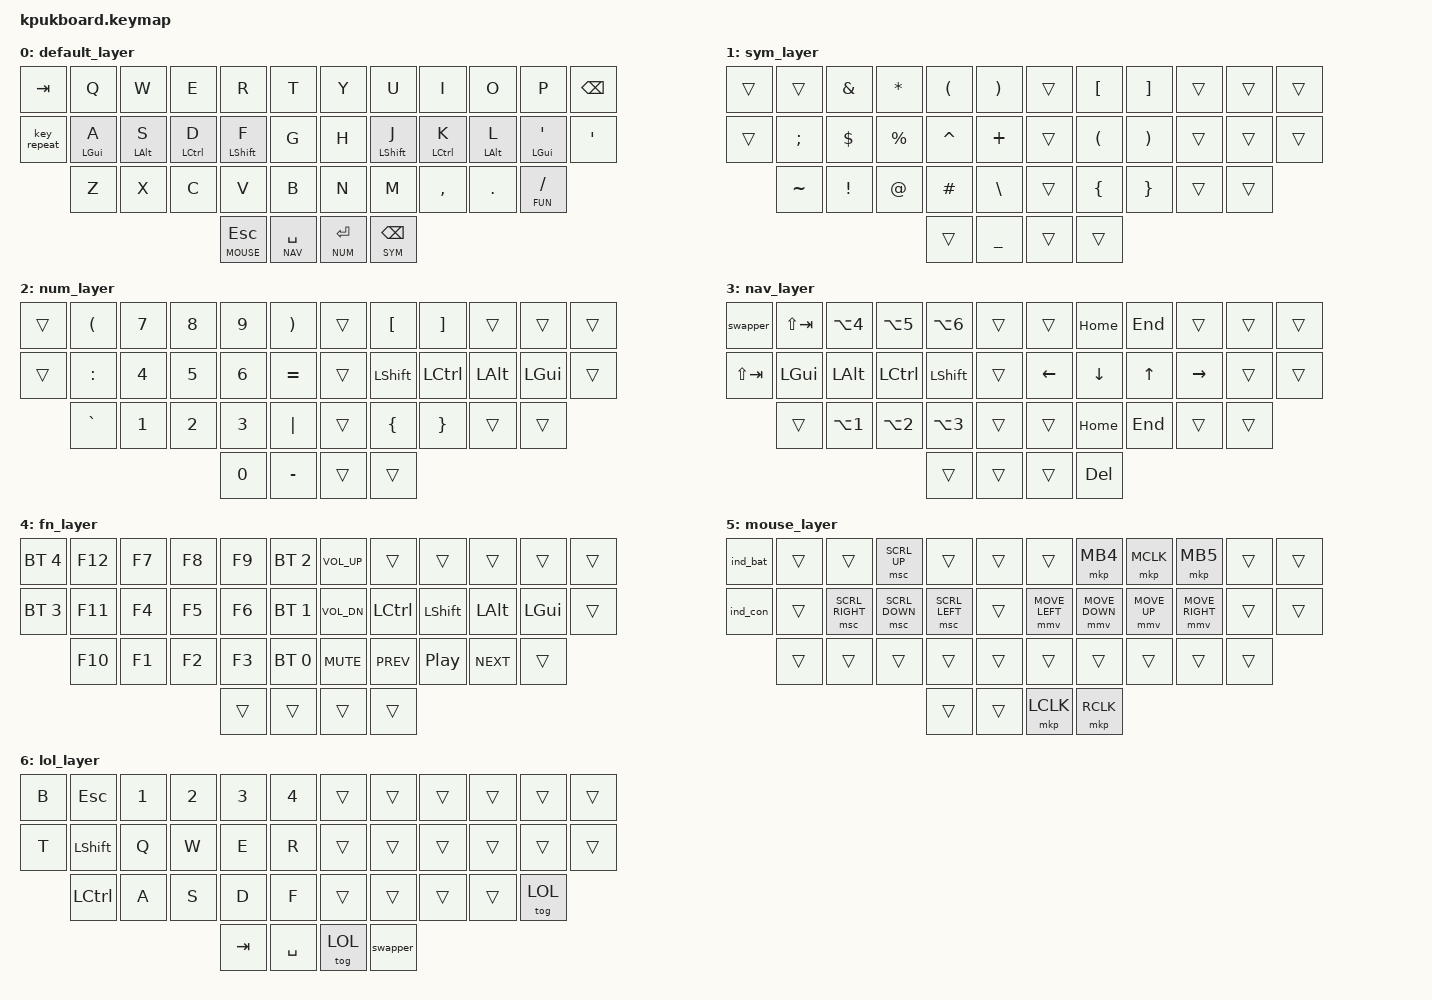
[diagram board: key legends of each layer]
/*
 * Copyright (c) 2020 The ZMK Contributors
 *
 * SPDX-License-Identifier: MIT
 */

#include <behaviors.dtsi>
#include <dt-bindings/zmk/keys.h>
#include <dt-bindings/zmk/bt.h>
#include <dt-bindings/zmk/pointing.h>
#include "zmk-helpers/helper.h"
#include <behaviors/rgbled_widget.dtsi>

#define ZMK_POINTING_DEFAULT_MOVE_VAL 1500  // default: 600
#define ZMK_POINTING_DEFAULT_SCRL_VAL 20    // default: 10


#define DEF 0
#define SYM 1
#define NUM 2
#define NAV 3
#define FUN 4
#define MOUSE 5
#define LOL 6

#include "combos.dtsi"

// Using layer taps on thumbs, having quick tap as well helps w/ repeating space/backspace
// &lt { quick_tap_ms = <-1>; };

/ {
    behaviors {
        ht: hold_tap_mods_standard {
            compatible = "zmk,behavior-hold-tap";
            label = "HOLD_TAP_PREF";
            #binding-cells = <2>;
            tapping-term-ms = <200>;
            flavor = "balanced";
            bindings = <&kp>, <&kp>;
        };

        hm: home_row_tap_mods {
            compatible = "zmk,behavior-hold-tap";
            label = "HOLD_TAP_TAP_PREF";
            #binding-cells = <2>;
            tapping-term-ms = <200>;
            flavor = "tap-preferred";
            bindings = <&kp>, <&kp>;
        };

       swapper: swapper {
            compatible = "zmk,behavior-tri-state";
            label = "TRI-STATE";
            #binding-cells = <0>;
            ignored-key-positions = <1 13 16>;
            bindings = <&kt LALT>, <&kp TAB>, <&kt LALT>;
        };
    };

    keymap {
        compatible = "zmk,keymap";

        default_layer {
            bindings = <
                &kp TAB &kp Q       &kp W        &kp E          &kp R           &kp T           &kp Y      &kp U          &kp I            &kp O          &kp P         &kp BKSP
            &key_repeat &hm LGUI A  &hm LALT S   &hm LCTRL D    &hm LSHFT F     &kp G           &kp H      &hm LSHFT J    &hm LCTRL K      &hm LALT L     &hm LGUI SQT  &kp SQT
                        &kp Z       &kp X        &kp C          &kp V           &kp B           &kp N      &kp M          &kp COMMA        &kp DOT        &lt FUN FSLH
                                                                &lt MOUSE ESC   &lt NAV SPACE   &lt NUM ENTER  &lt SYM BKSP
                >;
        };

        sym_layer {
            bindings = <
                &trans &trans       &kp AMPS   &kp ASTRK   &kp LPAR    &kp RPAR      &trans    &kp LBKT  &kp RBKT    &trans     &trans     &trans
                &trans &kp SEMI     &kp DLLR   &kp PRCNT   &kp CARET   &kp PLUS      &trans    &kp LPAR  &kp RPAR    &trans     &trans     &trans
                       &kp TILDE    &kp EXCL   &kp AT      &kp HASH    &kp BSLH      &trans    &kp LBRC  &kp RBRC    &trans     &trans
                                                           &trans      &kp UNDER     &trans    &trans
            >;
        };

        num_layer {
            bindings = <
                &trans &kp LPAR  &kp N7    &kp N8   &kp N9    &kp RPAR         &trans     &kp LBKT  &kp RBKT    &trans       &trans     &trans
                &trans &kp COLON &kp N4    &kp N5   &kp N6    &kp EQL          &trans     &kp LSHFT &kp LCTRL   &kp LALT     &kp LGUI   &trans
                       &kp GRAVE &kp N1    &kp N2   &kp N3    &kp PIPE         &trans     &kp LBRC  &kp RBRC    &trans       &trans
                                                    &kp N0    &kp MINUS        &trans     &trans
            >;
        };

        nav_layer {
            bindings = <
                &swapper      &kp LS(TAB)  &kp LA(N4) &kp LA(N5)   &kp LA(N6)    &trans          &trans       &kp HOME    &kp END   &trans      &trans     &trans
                &kp LS(TAB)   &kp LGUI     &kp LALT   &kp LCTRL    &kp LSHFT     &trans          &kp LEFT     &kp DOWN    &kp UP    &kp RIGHT   &trans     &trans
                              &trans       &kp LA(N1) &kp LA(N2)   &kp LA(N3)    &trans          &trans       &kp HOME    &kp END   &trans      &trans
                                                                    &trans       &trans          &trans       &kp DEL
            >;
        };

        fn_layer {
            bindings = <
                &bt BT_SEL 4 &kp F12  &kp F7  &kp F8  &kp F9  &bt BT_SEL 2        &kp C_VOL_UP    &trans      &trans     &trans      &trans   &trans
                &bt BT_SEL 3 &kp F11  &kp F4  &kp F5  &kp F6  &bt BT_SEL 1        &kp C_VOL_DN    &kp LCTRL   &kp LSHFT  &kp LALT    &kp LGUI &trans
                             &kp F10  &kp F1  &kp F2  &kp F3  &bt BT_SEL 0        &kp C_MUTE      &kp C_PREV  &kp C_PP   &kp C_NEXT  &trans
                                                      &trans  &trans              &trans          &trans
            >;
        };

        mouse_layer {
            bindings = <
                &ind_bat &trans  &trans          &msc SCRL_UP    &trans           &trans                 &trans           &mkp MB4         &mkp MCLK       &mkp MB5         &trans   &trans
                &ind_con &trans  &msc SCRL_RIGHT &msc SCRL_DOWN  &msc SCRL_LEFT   &trans                 &mmv MOVE_LEFT   &mmv MOVE_DOWN   &mmv MOVE_UP    &mmv MOVE_RIGHT  &trans   &trans
                         &trans  &trans          &trans          &trans           &trans                 &trans           &trans           &trans          &trans           &trans
                                                                 &trans           &trans                 &mkp LCLK        &mkp RCLK
            >;
        };

        lol_layer {
            bindings = <
                &kp B  &kp ESC    &kp N1      &kp N2          &kp N3          &kp N4                 &trans       &trans    &trans     &trans   &trans   &trans
                &kp T  &kp LSHFT  &kp Q       &kp W           &kp E           &kp R                  &trans       &trans    &trans     &trans   &trans   &trans
                       &kp LCTRL  &kp A       &kp S           &kp D           &kp F                  &trans       &trans    &trans     &trans   &tog LOL
                                                              &kp TAB         &kp SPACE              &tog LOL     &swapper
            >;
        };
    };
};
